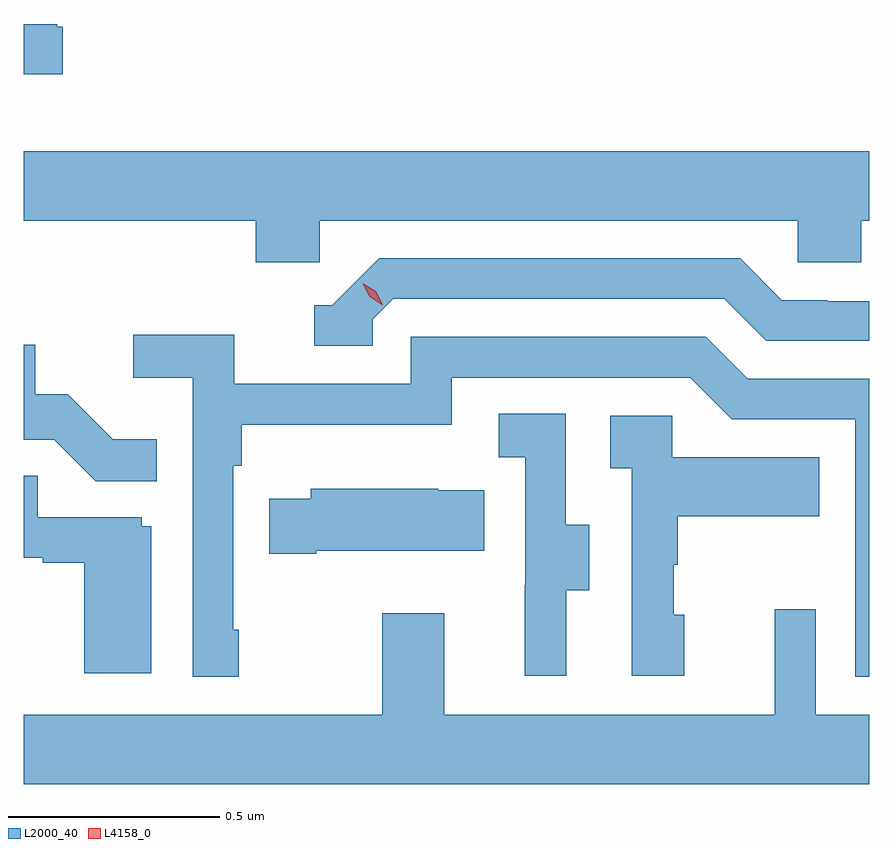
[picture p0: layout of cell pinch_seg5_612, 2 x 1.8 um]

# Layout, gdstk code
import gdstk
lib = gdstk.Library(unit=1e-6, precision=1e-09)
def P(c, l, *ps):  # polygons
    for p in ps: c.add(gdstk.Polygon(p, *l))
L2000_40 = (2000, 40)
L4158_0 = (4158, 0)

pinch_seg5_612 = lib.new_cell('pinch_seg5_612')
P(pinch_seg5_612, L2000_40, [(1090.589,858.55),(1090.576,858.55),(1090.576,858.557),(1090.496,858.557),(1090.496,858.438),(1090.589,858.438)],
  [(1091.196,858.092),(1092.327,858.092),(1092.327,857.994),(1092.477,857.994),(1092.477,858.092),(1092.496,858.092),(1092.496,858.256),(1090.496,858.256),(1090.496,858.092),(1091.045,858.092),(1091.045,857.994),(1091.196,857.994)],
  [(1091.322,857.859),(1091.37,857.907),(1092.153,857.907),(1092.252,857.808),(1092.496,857.808),(1092.496,857.901),(1092.396,857.901),(1092.396,857.904),(1092.289,857.904),(1092.19,858.003),(1091.337,858.003),(1091.226,857.892),(1091.183,857.892),(1091.183,857.796),(1091.322,857.796)],
  [(1091.005,857.125),(1090.992,857.125),(1090.992,857.513),(1091.012,857.513),(1091.012,857.609),(1091.508,857.609),(1091.508,857.721),(1092.072,857.721),(1092.171,857.622),(1092.462,857.622),(1092.462,857.013),(1092.496,857.013),(1092.496,857.718),(1092.208,857.718),(1092.109,857.817),(1091.412,857.817),(1091.412,857.706),(1090.994,857.706),(1090.994,857.822),(1090.755,857.822),(1090.755,857.72),(1090.896,857.72),(1090.896,857.013),(1091.005,857.013)],
  [(1090.811,857.575),(1090.707,857.575),(1090.6,857.682),(1090.524,857.682),(1090.524,857.799),(1090.496,857.799),(1090.496,857.574),(1090.569,857.574),(1090.667,857.476),(1090.811,857.476)],
  [(1091.779,857.218),(1091.833,857.218),(1091.833,857.373),(1091.778,857.373),(1091.778,857.636),(1091.619,857.636),(1091.619,857.533),(1091.682,857.533),(1091.682,857.229),(1091.681,857.229),(1091.681,857.016),(1091.779,857.016)],
  [(1092.058,857.16),(1092.033,857.16),(1092.033,857.279),(1092.043,857.279),(1092.043,857.393),(1092.377,857.393),(1092.377,857.533),(1092.03,857.533),(1092.03,857.631),(1091.883,857.631),(1091.883,857.507),(1091.934,857.507),(1091.934,857.016),(1092.058,857.016)],
  [(1090.798,857.37),(1090.776,857.37),(1090.776,857.391),(1090.529,857.391),(1090.529,857.489),(1090.496,857.489),(1090.496,857.295),(1090.541,857.295),(1090.541,857.283),(1090.64,857.283),(1090.64,857.022),(1090.798,857.022)],
  [(1091.188,857.312),(1091.585,857.312),(1091.585,857.455),(1091.477,857.455),(1091.477,857.458),(1091.175,857.458),(1091.175,857.434),(1091.077,857.434),(1091.077,857.305),(1091.188,857.305)],
  [(1092.496,856.924),(1092.369,856.924),(1092.369,857.173),(1092.272,857.173),(1092.272,856.924),(1091.491,856.924),(1091.491,857.164),(1091.344,857.164),(1091.344,856.924),(1090.496,856.924),(1090.496,856.76),(1092.496,856.76)])
P(pinch_seg5_612, L4158_0, [(1091.345,857.892),(1091.314,857.912),(1091.298,857.944),(1091.298,857.944),(1091.298,857.944),(1091.329,857.925),(1091.345,857.893),(1091.345,857.892)])

lib.write_gds('pinch_seg5_612.gds')
